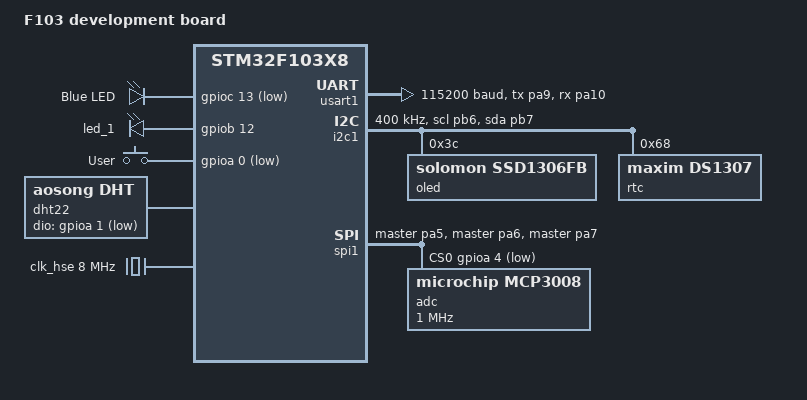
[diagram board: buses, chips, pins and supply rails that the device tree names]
/* SPDX-License-Identifier: Apache-2.0 */
/* A Zephyr-style board DTS for the importer tests (not a real board). */
/dts-v1/;
#include <st/f1/stm32f103X8.dtsi>
#include <st/f1/stm32f103c(8-b)tx-pinctrl.dtsi>
#include <zephyr/dt-bindings/input/input-event-codes.h>

/ {
	model = "F103 development board";
	compatible = "emblink,f103-dev";

	chosen {
		zephyr,console = &usart1;
		zephyr,shell-uart = &usart1;
	};

	leds {
		compatible = "gpio-leds";
		led_blue: led_0 {
			gpios = <&gpioc 13 GPIO_ACTIVE_LOW>;
			label = "Blue LED";
		};
		led_1 {
			gpios = <&gpiob 12 GPIO_ACTIVE_HIGH>;
		};
	};

	keys {
		compatible = "gpio-keys";
		user_button: button {
			label = "User";
			gpios = <&gpioa 0 GPIO_ACTIVE_LOW>;
			zephyr,code = <INPUT_KEY_0>;
		};
	};

	dht22 {
		compatible = "aosong,dht";
		dio-gpios = <&gpioa 1 GPIO_ACTIVE_LOW>;
		dht22;
	};

	aliases {
		led0 = &led_blue;
		sw0 = &user_button;
	};
};

&clk_hse {
	clock-frequency = <DT_FREQ_M(8)>;
	status = "okay";
};

&usart1 {
	pinctrl-0 = <&usart1_tx_pa9 &usart1_rx_pa10>;
	pinctrl-names = "default";
	current-speed = <115200>;
	status = "okay";
};

&i2c1 {
	pinctrl-0 = <&i2c1_scl_pb6 &i2c1_sda_pb7>;
	pinctrl-names = "default";
	status = "okay";
	clock-frequency = <I2C_BITRATE_FAST>;

	oled: ssd1306@3c {
		compatible = "solomon,ssd1306fb";
		reg = <0x3c>;
	};
	rtc@68 {
		compatible = "maxim,ds1307";
		reg = <0x68>;
	};
};

&spi1 {
	pinctrl-0 = <&spi1_sck_master_pa5 &spi1_miso_master_pa6 &spi1_mosi_master_pa7>;
	pinctrl-names = "default";
	cs-gpios = <&gpioa 4 GPIO_ACTIVE_LOW>;
	status = "okay";

	adc@0 {
		compatible = "microchip,mcp3008";
		reg = <0>;
		spi-max-frequency = <1000000>;
	};
};
